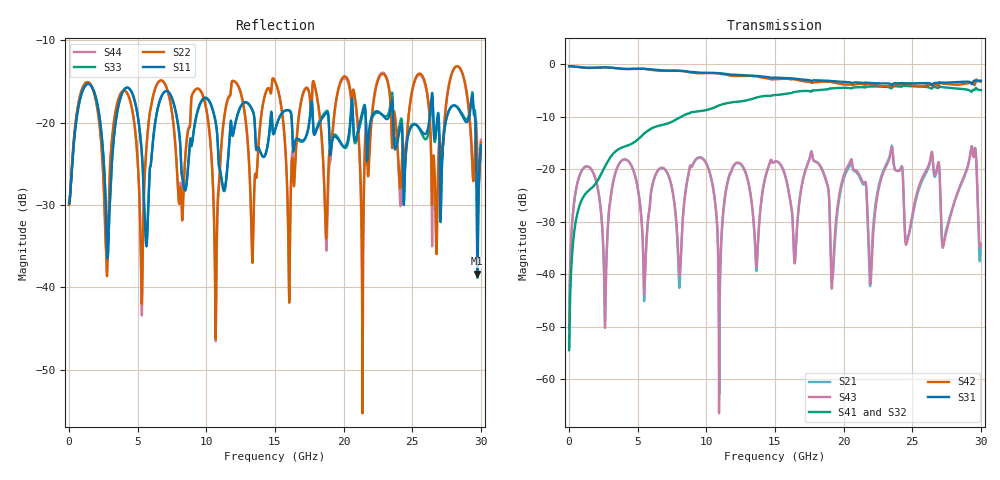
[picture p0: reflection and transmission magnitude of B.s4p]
!MTL model of B, calibrated on full-wave A (medium)
# Hz S RI R 50.0
!freq ReS11 ImS11 ReS12 ImS12 ReS13 ImS13
! ReS14 ImS14
! ReS21 ImS21 ReS22 ImS22 ReS23 ImS23
! ReS24 ImS24
! ReS31 ImS31 ReS32 ImS32 ReS33 ImS33
! ReS34 ImS34
! ReS41 ImS41 ReS42 ImS42 ReS43 ImS43
! ReS44 ImS44
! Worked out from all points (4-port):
!   3000 points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, 10 MHz to 30 GHz, reference 50 ohm
!   strongest paths, dB at 10 MHz, 7.51 GHz, 15.01 GHz, 22.51 GHz, 30 GHz:
!     S31: -0.4, -1.2, -2.6, -3.7, -3.1
!     S42: -0.4, -1.2, -2.9, -4.1, -3.3
!     S41: -54.4, -11.0, -5.9, -4.3, -4.9
!     S32: -54.4, -11.0, -5.9, -4.2, -4.9
!     S43: -53.8, -23.6, -18.5, -24.4, -34.2
!     S21: -53.8, -23.8, -18.6, -23.7, -34.6
!   lowest |S11| = -38.3 dB at 29.74 GHz (marker M1), VSWR 1.02, Z = 48.9 + j0.57 ohm
!   |S11| at or under -10 dB: start of sweep to end of sweep
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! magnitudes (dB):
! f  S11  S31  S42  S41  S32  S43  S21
! 10 MHz  -29.8  -0.4  -0.4  -54.4  -54.4  -53.8  -53.8
! 1 GHz  -16.1  -0.6  -0.7  -25.5  -25.5  -20.0  -20.0
! 2.63 GHz  -27.9  -0.6  -0.6  -19.4  -19.4  -49.9  -48.7
! 5.96 GHz  -25.1  -1.0  -1.1  -12.3  -12.3  -24.7  -24.8
! 10.69 GHz  -20.1  -1.7  -1.7  -8.1  -8.1  -27.5  -27.2
! 29.74 GHz  -38.3  -3.2  -3.1  -4.8  -4.8  -23.5  -23.8
! 30 GHz  -22.8  -3.1  -3.3  -4.9  -4.9  -34.2  -34.6
